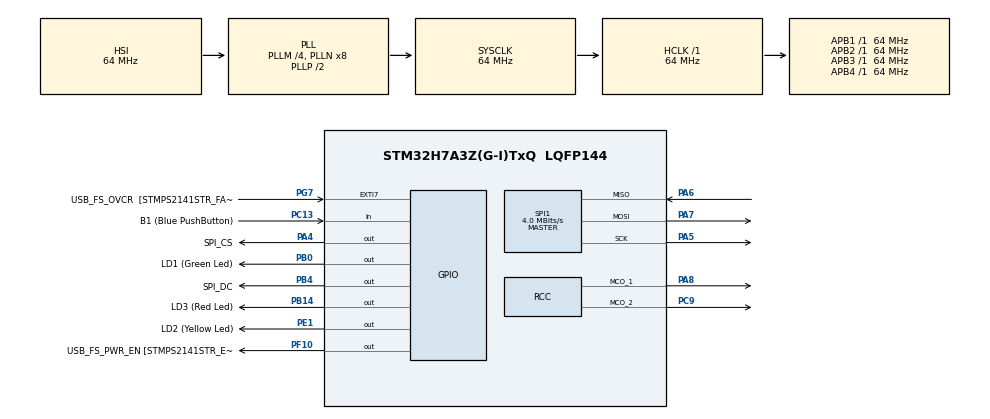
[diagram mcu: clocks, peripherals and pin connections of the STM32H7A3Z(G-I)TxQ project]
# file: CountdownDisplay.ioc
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Mcu.Family=STM32H7
Mcu.Name=STM32H7A3Z(G-I)TxQ
Mcu.Package=LQFP144
NVIC.PriorityGroup=NVIC_PRIORITYGROUP_4
PA10.GPIO_Label=USB_FS_ID [ZX62RD-AB-5P8_ID]
PA10.Signal=USB_OTG_HS_ID
PA11.GPIO_Label=USB_FS_N [USBLC6-2SC6_IO_1]
PA11.Signal=USB_OTG_HS_DM
PA12.GPIO_Label=USB_FS_P [USBLC6-2SC6_IO_2]
PA12.Signal=USB_OTG_HS_DP
PA4.GPIO_Label=SPI_CS
PA4.GPIO_PuPd=GPIO_PULLUP
PA4.GPIO_Speed=GPIO_SPEED_FREQ_MEDIUM
PA4.PinState=GPIO_PIN_SET
PA4.Signal=GPIO_Output
PA5.Mode=Full_Duplex_Master
PA5.Signal=SPI1_SCK
PA6.Mode=Full_Duplex_Master
PA6.Signal=SPI1_MISO
PA7.Mode=Full_Duplex_Master
PA7.Signal=SPI1_MOSI
PA8.Mode=Clock-out-1
PA8.Signal=RCC_MCO_1
PA9.GPIO_Label=USB_FS_VBUS  [ZX62RD-AB-5P8_VBUS]
PA9.Signal=USB_OTG_HS_VBUS
PB0.GPIO_Label=LD1 (Green Led)
PB0.Signal=GPIO_Output
PB10.Signal=SPI2_SCK
PB14.GPIO_Label=LD3 (Red Led)
PB14.Signal=GPIO_Output
PB4.GPIO_Label=SPI_DC
PB4.GPIO_Speed=GPIO_SPEED_FREQ_MEDIUM
PB4.Signal=GPIO_Output
PC13.GPIO_Label=B1 (Blue PushButton)
PC13.Signal=GPIO_Input
PC14-OSC32_IN.GPIO_Label=OSC32_IN
PC14-OSC32_IN.Mode=LSE-External-Oscillator
PC14-OSC32_IN.Signal=RCC_OSC32_IN
PC15-OSC32_OUT.GPIO_Label=OSC32_OUT
PC15-OSC32_OUT.Mode=LSE-External-Oscillator
PC15-OSC32_OUT.Signal=RCC_OSC32_OUT
PC9.Mode=Clock-out-2
PC9.Signal=RCC_MCO_2
PD8.GPIO_Label=STLINK_RX
PD8.Signal=USART3_TX
PD9.GPIO_Label=STLINK_TX
PD9.Signal=USART3_RX
PE1.GPIO_Label=LD2 (Yellow Led)
PE1.Signal=GPIO_Output
PF10.GPIO_Label=USB_FS_PWR_EN [STMPS2141STR_EN]
PF10.Signal=GPIO_Output
PG7.GPIO_Label=USB_FS_OVCR  [STMPS2141STR_FAULT]
PG7.Signal=GPXTI7
PH0-OSC_IN.GPIO_Label=PH0-MCU
PH0-OSC_IN.Mode=HSE-External-Clock-Source
PH0-OSC_IN.Signal=RCC_OSC_IN
PH1-OSC_OUT.GPIO_Label=PH1-MCU
PH1-OSC_OUT.Signal=RCC_OSC_OUT
ProjectManager.HeapSize=0x200
ProjectManager.StackSize=0x400
ProjectManager.TargetToolchain=STM32CubeIDE
RCC.ADCFreq_Value=129000000
RCC.APB1Freq_Value=64000000
RCC.APB2Freq_Value=64000000
RCC.APB3Freq_Value=64000000
RCC.APB4Freq_Value=64000000
RCC.CortexFreq_Value=64000000
RCC.DIVM1=4
RCC.DIVM3=1
RCC.DIVN1=8
RCC.DIVN3=24
RCC.DIVQ1=4
RCC.FLatency=FLASH_LATENCY_1
RCC.HCLKFreq_Value=64000000
RCC.HSE_VALUE=8000000
RCC.PLLFRACN=0
RCC.PWR_Regulator_Voltage_Scale=PWR_REGULATOR_VOLTAGE_SCALE0
RCC.SYSCLKFreq_VALUE=64000000
RCC.SYSCLKSource=RCC_SYSCLKSOURCE_PLLCLK
RCC.SupplySource=PWR_DIRECT_SMPS_SUPPLY
RCC.USBCLockSelection=RCC_USBCLKSOURCE_HSI48
RCC.USBFreq_Value=48000000
SPI1.BaudRatePrescaler=SPI_BAUDRATEPRESCALER_8
SPI1.CalculateBaudRate=4.0 MBits/s
SPI1.DataSize=SPI_DATASIZE_8BIT
SPI1.Direction=SPI_DIRECTION_2LINES
SPI1.Mode=SPI_MODE_MASTER
SPI1.VirtualType=VM_MASTER
board=NUCLEO-H7A3ZI-Q

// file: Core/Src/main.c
/* USER CODE BEGIN Header */
/**
  ******************************************************************************
  * @file           : main.c
  * @brief          : Main program body
  ******************************************************************************
  * @attention
  *
  * Copyright (c) 2024 STMicroelectronics.
  * All rights reserved.
  *
  * This software is licensed under terms that can be found in the LICENSE file
  * in the root directory of this software component.
  * If no LICENSE file comes with this software, it is provided AS-IS.
  *
  ******************************************************************************
  */
/* USER CODE END Header */
#include "main.h"

/* USER CODE BEGIN Includes */
#include <string.h>
#include <stdbool.h>
#include <stdlib.h>
#include "st7735.h"
#include "font.h"
/* USER CODE END Includes */

/* USER CODE BEGIN PTD */
typedef struct {
	uint8_t x;
	uint8_t y;
	uint8_t w;
	uint8_t h;
} Rect;

typedef struct {
	uint8_t x;
	uint8_t y;
} Point;

typedef struct {
	const char* text;
	PixelData colour;
	Rect boundingRect;
} TextElement;

/* USER CODE END PTD */

SPI_HandleTypeDef hspi1;

/* USER CODE BEGIN PV */
PixelData screen[128][160];

FontCharacter font[] = { // A-Z, 0-9 (36 total characters)
		{32, 0},
		{32, 1},
		{32, 2},
		{32, 3},
		{32, 4},
		{32, 5},
		{32, 6},
		{32, 7},
		{32, 8},
		{32, 9},
		{32, 10},
		{32, 11},
		{32, 12},
		{32, 13},
		{32, 14},
		{32, 15},
		{42, 16}, // Q
		{32, 17},
		{32, 18},
		{32, 19},
		{32, 20},
		{32, 21},
		{32, 22},
		{32, 23},
		{32, 24},
		{32, 25},
		{32, 26}, // 0
		{32, 27},
		{32, 28},
		{32, 29},
		{32, 30},
		{32, 31},
		{32, 32},
		{32, 33},
		{32, 34},
		{32, 35},
};

uint8_t textElementsCount = 0;
TextElement *textElements;
/* USER CODE END PV */

void SystemClock_Config(void);
static void MX_GPIO_Init(void);
static void MX_SPI1_Init(void);
/* USER CODE BEGIN PFP */
void writeLCD(ST7735_JOB job, uint8_t *data);
void writeLCDColour(PixelData data);
PixelData colourFromHex(uint8_t r, uint8_t g, uint8_t b);
void drawText(uint8_t index);
Rect drawTextCentered(uint8_t x, uint8_t y, const char* text, PixelData colour);
Rect drawCharacter(uint8_t x, uint8_t y, FontCharacter character, PixelData colour);
void updateScreen();
void updateRect(Rect rect);
void addTextElement(const char* text, PixelData colour, Rect rect);
/* USER CODE END PFP */

int main(void)
{

  /* USER CODE BEGIN 1 */
  textElements = malloc(sizeof(TextElement));
  /* USER CODE END 1 */

  /* MCU Configuration--------------------------------------------------------*/

  /* Reset of all peripherals, Initializes the Flash interface and the Systick. */
  HAL_Init();

  /* USER CODE BEGIN Init */
  uint8_t startupData[] = {
    0x01, 0x2C, 0x2D, // FRMCTR1 // FRMCTR2 // FRMCTR3 (1)
	0x01, 0x2C, 0x2D, // FRMCTR3 (2)
	0x07,			  // INVCTR
	0xA2, 0x02, 0x84, // PWCTR1
	0xC5,			  // PWCTR2
	0x0A, 0x00,		  // PWCTR3
	0x8A, 0x2A,		  // PWCTR4
	0x8A, 0xEE,		  // PWCTR5
	0x0E, 0x0E,		  // VMCTR1
	0x20,			  // MADCTL
	0x06,			  // COLMOD
	0x00, 0x00, 0x00, 0x7F, // RASET
	0x00, 0x00, 0x00, 0x9F, // CASET
	0x02, 0x1C, 0x07, 0x12, 0x37, 0x32, 0x29, 0x2D, 0x29, 0x25, 0x2B, 0x39, 0x00, 0x01, 0x03, 0x10, // GAMCTRP1
	0x03, 0x1D, 0x07, 0x06, 0x2E, 0x2C, 0x29, 0x2D, 0x2E, 0x2E, 0x37, 0x3F, 0x00, 0x00, 0x02, 0x10, // GAMCTRN1
  };

  ST7735_JOB jobs[] = {
		  {ST7735_SWRESET, 0, 0, 150},
		  {ST7735_SLPOUT, 0, 0, 500},
		  {ST7735_FRMCTR1, 0, 3, 0},
		  {ST7735_FRMCTR2, 0, 3, 0},
		  {ST7735_FRMCTR3, 0, 6, 0},
		  {ST7735_INVCTR, 6, 1, 0},
		  {ST7735_PWCTR1, 7, 3, 0},
		  {ST7735_PWCTR2, 10, 1, 0},
		  {ST7735_PWCTR3, 11, 2, 0},
		  {ST7735_PWCTR4, 13, 2, 0},
		  {ST7735_PWCTR5, 15, 2, 0},
		  {ST7735_VMCTR1, 17, 2, 0},
		  {ST7735_INVOFF, 19, 0, 0},
		  {ST7735_MADCTL, 19, 1, 0},
		  {ST7735_COLMOD, 20, 1, 0},
		  {ST7735_RASET, 21, 4, 0},
		  {ST7735_CASET, 25, 4, 0},
		  {ST7735_GAMCTRP1, 29, 16, 0},
		  {ST7735_GAMCTRN1, 45, 16, 0},
		  {ST7735_NORON, 51, 0, 10},
		  {ST7735_DISPON, 51, 0, 100},
		  {ST7735_TEOFF, 51, 0, 0},
  };
  /* USER CODE END Init */

  /* Configure the system clock */
  SystemClock_Config();

  /* Initialize all configured peripherals */
  MX_GPIO_Init();
  MX_SPI1_Init();
  /* USER CODE BEGIN 2 */
  uint32_t jobSize = sizeof(jobs) / sizeof(ST7735_JOB);
  for(int i = 0; i < jobSize; i++) {
	  writeLCD(jobs[i], startupData);
  }
  writeLCD((ST7735_JOB) {ST7735_DISPOFF, 0, 0, 100}, 0);
  writeLCDColour(colourFromHex(0x35, 0x35, 0x35)); // Set background colour
  addTextElement("ABC\n123", Magenta, (Rect) {50, 50, 0, 0});
  updateScreen(); // Push screen 2D array to memory
  writeLCD((ST7735_JOB) {ST7735_DISPON, 0, 0, 100}, 0);
  addTextElement("AAA", Cyan, (Rect) {0, 0, 0, 0});
  writeLCD((ST7735_JOB) {ST7735_DISPOFF, 0, 0, 100}, 0);
  for(int i = 0; i < textElementsCount; i++) {
	updateRect(textElements[i].boundingRect);
  }
  writeLCD((ST7735_JOB) {ST7735_DISPON, 0, 0, 100}, 0);
  /* USER CODE END 2 */

  /* Infinite loop */
  while (1)
  {

  }
}

void SystemClock_Config(void)
{
  RCC_OscInitTypeDef RCC_OscInitStruct = {0};
  RCC_ClkInitTypeDef RCC_ClkInitStruct = {0};

  /*AXI clock gating */
  RCC->CKGAENR = 0xFFFFFFFF;

  /** Supply configuration update enable
  */
  HAL_PWREx_ConfigSupply(PWR_DIRECT_SMPS_SUPPLY);

  /** Configure the main internal regulator output voltage
  */
  __HAL_PWR_VOLTAGESCALING_CONFIG(PWR_REGULATOR_VOLTAGE_SCALE0);

  while(!__HAL_PWR_GET_FLAG(PWR_FLAG_VOSRDY)) {}

  /** Initializes the RCC Oscillators according to the specified parameters
  * in the RCC_OscInitTypeDef structure.
  */
  RCC_OscInitStruct.OscillatorType = RCC_OSCILLATORTYPE_HSI;
  RCC_OscInitStruct.HSIState = RCC_HSI_DIV1;
  RCC_OscInitStruct.HSICalibrationValue = 64;
  RCC_OscInitStruct.PLL.PLLState = RCC_PLL_ON;
  RCC_OscInitStruct.PLL.PLLSource = RCC_PLLSOURCE_HSI;
  RCC_OscInitStruct.PLL.PLLM = 4;
  RCC_OscInitStruct.PLL.PLLN = 8;
  RCC_OscInitStruct.PLL.PLLP = 2;
  RCC_OscInitStruct.PLL.PLLQ = 4;
  RCC_OscInitStruct.PLL.PLLR = 2;
  RCC_OscInitStruct.PLL.PLLRGE = RCC_PLL1VCIRANGE_3;
  RCC_OscInitStruct.PLL.PLLVCOSEL = RCC_PLL1VCOWIDE;
  RCC_OscInitStruct.PLL.PLLFRACN = 0;
  if (HAL_RCC_OscConfig(&RCC_OscInitStruct) != HAL_OK)
  {
    Error_Handler();
  }

  /** Initializes the CPU, AHB and APB buses clocks
  */
  RCC_ClkInitStruct.ClockType = RCC_CLOCKTYPE_HCLK|RCC_CLOCKTYPE_SYSCLK
                              |RCC_CLOCKTYPE_PCLK1|RCC_CLOCKTYPE_PCLK2
                              |RCC_CLOCKTYPE_D3PCLK1|RCC_CLOCKTYPE_D1PCLK1;
  RCC_ClkInitStruct.SYSCLKSource = RCC_SYSCLKSOURCE_PLLCLK;
  RCC_ClkInitStruct.SYSCLKDivider = RCC_SYSCLK_DIV1;
  RCC_ClkInitStruct.AHBCLKDivider = RCC_HCLK_DIV1;
  RCC_ClkInitStruct.APB3CLKDivider = RCC_APB3_DIV1;
  RCC_ClkInitStruct.APB1CLKDivider = RCC_APB1_DIV1;
  RCC_ClkInitStruct.APB2CLKDivider = RCC_APB2_DIV1;
  RCC_ClkInitStruct.APB4CLKDivider = RCC_APB4_DIV1;

  if (HAL_RCC_ClockConfig(&RCC_ClkInitStruct, FLASH_LATENCY_1) != HAL_OK)
  {
    Error_Handler();
  }
  HAL_RCC_MCOConfig(RCC_MCO1, RCC_MCO1SOURCE_HSI, RCC_MCODIV_1);
  HAL_RCC_MCOConfig(RCC_MCO2, RCC_MCO2SOURCE_SYSCLK, RCC_MCODIV_1);
}

static void MX_SPI1_Init(void)
{

  /* SPI1 parameter configuration*/
  hspi1.Instance = SPI1;
  hspi1.Init.Mode = SPI_MODE_MASTER;
  hspi1.Init.Direction = SPI_DIRECTION_2LINES;
  hspi1.Init.DataSize = SPI_DATASIZE_8BIT;
  hspi1.Init.CLKPolarity = SPI_POLARITY_LOW;
  hspi1.Init.CLKPhase = SPI_PHASE_1EDGE;
  hspi1.Init.NSS = SPI_NSS_SOFT;
  hspi1.Init.BaudRatePrescaler = SPI_BAUDRATEPRESCALER_8;
  hspi1.Init.FirstBit = SPI_FIRSTBIT_MSB;
  hspi1.Init.TIMode = SPI_TIMODE_DISABLE;
  hspi1.Init.CRCCalculation = SPI_CRCCALCULATION_DISABLE;
  hspi1.Init.CRCPolynomial = 0x0;
  hspi1.Init.NSSPMode = SPI_NSS_PULSE_ENABLE;
  hspi1.Init.NSSPolarity = SPI_NSS_POLARITY_LOW;
  hspi1.Init.FifoThreshold = SPI_FIFO_THRESHOLD_01DATA;
  hspi1.Init.TxCRCInitializationPattern = SPI_CRC_INITIALIZATION_ALL_ZERO_PATTERN;
  hspi1.Init.RxCRCInitializationPattern = SPI_CRC_INITIALIZATION_ALL_ZERO_PATTERN;
  hspi1.Init.MasterSSIdleness = SPI_MASTER_SS_IDLENESS_00CYCLE;
  hspi1.Init.MasterInterDataIdleness = SPI_MASTER_INTERDATA_IDLENESS_00CYCLE;
  hspi1.Init.MasterReceiverAutoSusp = SPI_MASTER_RX_AUTOSUSP_DISABLE;
  hspi1.Init.MasterKeepIOState = SPI_MASTER_KEEP_IO_STATE_DISABLE;
  hspi1.Init.IOSwap = SPI_IO_SWAP_DISABLE;
  if (HAL_SPI_Init(&hspi1) != HAL_OK)
  {
    Error_Handler();
  }

}

static void MX_GPIO_Init(void)
{
  GPIO_InitTypeDef GPIO_InitStruct = {0};

  /* GPIO Ports Clock Enable */
  __HAL_RCC_GPIOC_CLK_ENABLE();
  __HAL_RCC_GPIOF_CLK_ENABLE();
  __HAL_RCC_GPIOH_CLK_ENABLE();
  __HAL_RCC_GPIOA_CLK_ENABLE();
  __HAL_RCC_GPIOB_CLK_ENABLE();
  __HAL_RCC_GPIOD_CLK_ENABLE();
  __HAL_RCC_GPIOG_CLK_ENABLE();
  __HAL_RCC_GPIOE_CLK_ENABLE();

  /*Configure GPIO pin Output Level */
  HAL_GPIO_WritePin(USB_FS_PWR_EN_GPIO_Port, USB_FS_PWR_EN_Pin, GPIO_PIN_RESET);

  /*Configure GPIO pin Output Level */
  HAL_GPIO_WritePin(SPI_CS_GPIO_Port, SPI_CS_Pin, GPIO_PIN_SET);

  /*Configure GPIO pin Output Level */
  HAL_GPIO_WritePin(GPIOB, LD1_Pin|LD3_Pin|SPI_DC_Pin, GPIO_PIN_RESET);

  /*Configure GPIO pin Output Level */
  HAL_GPIO_WritePin(LD2_GPIO_Port, LD2_Pin, GPIO_PIN_RESET);

  /*Configure GPIO pin : B1_Pin */
  GPIO_InitStruct.Pin = B1_Pin;
  GPIO_InitStruct.Mode = GPIO_MODE_INPUT;
  GPIO_InitStruct.Pull = GPIO_NOPULL;
  HAL_GPIO_Init(B1_GPIO_Port, &GPIO_InitStruct);

  /*Configure GPIO pin : USB_FS_PWR_EN_Pin */
  GPIO_InitStruct.Pin = USB_FS_PWR_EN_Pin;
  GPIO_InitStruct.Mode = GPIO_MODE_OUTPUT_PP;
  GPIO_InitStruct.Pull = GPIO_NOPULL;
  GPIO_InitStruct.Speed = GPIO_SPEED_FREQ_LOW;
  HAL_GPIO_Init(USB_FS_PWR_EN_GPIO_Port, &GPIO_InitStruct);

  /*Configure GPIO pin : SPI_CS_Pin */
  GPIO_InitStruct.Pin = SPI_CS_Pin;
  GPIO_InitStruct.Mode = GPIO_MODE_OUTPUT_PP;
  GPIO_InitStruct.Pull = GPIO_PULLUP;
  GPIO_InitStruct.Speed = GPIO_SPEED_FREQ_MEDIUM;
  HAL_GPIO_Init(SPI_CS_GPIO_Port, &GPIO_InitStruct);

  /*Configure GPIO pins : LD1_Pin LD3_Pin */
  GPIO_InitStruct.Pin = LD1_Pin|LD3_Pin;
  GPIO_InitStruct.Mode = GPIO_MODE_OUTPUT_PP;
  GPIO_InitStruct.Pull = GPIO_NOPULL;
  GPIO_InitStruct.Speed = GPIO_SPEED_FREQ_LOW;
  HAL_GPIO_Init(GPIOB, &GPIO_InitStruct);

  /*Configure GPIO pin : PB10 */
  GPIO_InitStruct.Pin = GPIO_PIN_10;
  GPIO_InitStruct.Mode = GPIO_MODE_AF_PP;
  GPIO_InitStruct.Pull = GPIO_NOPULL;
  GPIO_InitStruct.Speed = GPIO_SPEED_FREQ_LOW;
  GPIO_InitStruct.Alternate = GPIO_AF5_SPI2;
  HAL_GPIO_Init(GPIOB, &GPIO_InitStruct);

  /*Configure GPIO pins : STLINK_RX_Pin STLINK_TX_Pin */
  GPIO_InitStruct.Pin = STLINK_RX_Pin|STLINK_TX_Pin;
  GPIO_InitStruct.Mode = GPIO_MODE_AF_PP;
  GPIO_InitStruct.Pull = GPIO_NOPULL;
  GPIO_InitStruct.Speed = GPIO_SPEED_FREQ_LOW;
  GPIO_InitStruct.Alternate = GPIO_AF7_USART3;
  HAL_GPIO_Init(GPIOD, &GPIO_InitStruct);

  /*Configure GPIO pin : USB_FS_OVCR_Pin */
  GPIO_InitStruct.Pin = USB_FS_OVCR_Pin;
  GPIO_InitStruct.Mode = GPIO_MODE_IT_RISING;
  GPIO_InitStruct.Pull = GPIO_NOPULL;
  HAL_GPIO_Init(USB_FS_OVCR_GPIO_Port, &GPIO_InitStruct);

  /*Configure GPIO pin : PC9 */
  GPIO_InitStruct.Pin = GPIO_PIN_9;
  GPIO_InitStruct.Mode = GPIO_MODE_AF_PP;
  GPIO_InitStruct.Pull = GPIO_NOPULL;
  GPIO_InitStruct.Speed = GPIO_SPEED_FREQ_LOW;
  GPIO_InitStruct.Alternate = GPIO_AF0_MCO;
  HAL_GPIO_Init(GPIOC, &GPIO_InitStruct);

  /*Configure GPIO pin : PA8 */
  GPIO_InitStruct.Pin = GPIO_PIN_8;
  GPIO_InitStruct.Mode = GPIO_MODE_AF_PP;
  GPIO_InitStruct.Pull = GPIO_NOPULL;
  GPIO_InitStruct.Speed = GPIO_SPEED_FREQ_LOW;
  GPIO_InitStruct.Alternate = GPIO_AF0_MCO;
  HAL_GPIO_Init(GPIOA, &GPIO_InitStruct);

  /*Configure GPIO pin : USB_FS_ID_Pin */
  GPIO_InitStruct.Pin = USB_FS_ID_Pin;
  GPIO_InitStruct.Mode = GPIO_MODE_AF_PP;
  GPIO_InitStruct.Pull = GPIO_NOPULL;
  GPIO_InitStruct.Speed = GPIO_SPEED_FREQ_LOW;
  GPIO_InitStruct.Alternate = GPIO_AF10_OTG1_HS;
  HAL_GPIO_Init(USB_FS_ID_GPIO_Port, &GPIO_InitStruct);

  /*Configure GPIO pins : USB_FS_N_Pin USB_FS_P_Pin */
  GPIO_InitStruct.Pin = USB_FS_N_Pin|USB_FS_P_Pin;
  GPIO_InitStruct.Mode = GPIO_MODE_AF_PP;
  GPIO_InitStruct.Pull = GPIO_NOPULL;
  GPIO_InitStruct.Speed = GPIO_SPEED_FREQ_LOW;
  HAL_GPIO_Init(GPIOA, &GPIO_InitStruct);

  /*Configure GPIO pin : SPI_DC_Pin */
  GPIO_InitStruct.Pin = SPI_DC_Pin;
  GPIO_InitStruct.Mode = GPIO_MODE_OUTPUT_PP;
  GPIO_InitStruct.Pull = GPIO_NOPULL;
  GPIO_InitStruct.Speed = GPIO_SPEED_FREQ_MEDIUM;
  HAL_GPIO_Init(SPI_DC_GPIO_Port, &GPIO_InitStruct);

  /*Configure GPIO pin : LD2_Pin */
  GPIO_InitStruct.Pin = LD2_Pin;
  GPIO_InitStruct.Mode = GPIO_MODE_OUTPUT_PP;
  GPIO_InitStruct.Pull = GPIO_NOPULL;
  GPIO_InitStruct.Speed = GPIO_SPEED_FREQ_LOW;
  HAL_GPIO_Init(LD2_GPIO_Port, &GPIO_InitStruct);

}

/* USER CODE BEGIN 4 */
void writeLCD(ST7735_JOB job, uint8_t *data) {
	HAL_GPIO_WritePin(SPI_DC_GPIO_Port, SPI_DC_Pin, GPIO_PIN_RESET);
	HAL_GPIO_WritePin(SPI_CS_GPIO_Port, SPI_CS_Pin, GPIO_PIN_RESET);
	HAL_SPI_Transmit(&hspi1, &job.op, 1, HAL_MAX_DELAY);
	HAL_GPIO_WritePin(SPI_CS_GPIO_Port, SPI_CS_Pin, GPIO_PIN_SET);
	if(job.dataLength != 0) {
		HAL_GPIO_WritePin(SPI_DC_GPIO_Port, SPI_DC_Pin, GPIO_PIN_SET);
		for(int i = job.offset; i < job.offset + job.dataLength; i++) {
			HAL_GPIO_WritePin(SPI_CS_GPIO_Port, SPI_CS_Pin, GPIO_PIN_RESET);
			HAL_SPI_Transmit(&hspi1, data + i, 1, HAL_MAX_DELAY);
			HAL_GPIO_WritePin(SPI_CS_GPIO_Port, SPI_CS_Pin, GPIO_PIN_SET);
		}
	}
}

void writeLCDColour(PixelData data) {
	for(int i = 0; i < 128; i++) {
		for(int j = 0; j < 160; j++) {
			screen[i][j] = data;
		}
	}
}

PixelData colourFromHex(uint8_t r, uint8_t g, uint8_t b) {
	return (PixelData) {{r, g, b}};
}

void drawText(uint8_t index) {
	TextElement te = textElements[index];
	uint8_t x = te.boundingRect.x;
	uint8_t y = te.boundingRect.y;
	Rect temp = {x, y, 0, 45};
	size_t textLength = strlen(te.text);
	uint8_t xPos = x;
	uint8_t yPos = y;
	bool draw = true;
	for(int i = 0; i < textLength; i++) {
		char currChar = te.text[i];
		if((xPos - x) > temp.w) {
			temp.w = xPos - x;
		}
		switch(currChar) {
			case 'A' ... 'Z':
				currChar -= 'A';
				break;
			case '0' ... '9':
				currChar -= '0';
				currChar += 26;
				break;
			case '\n':
				draw = false;
				xPos = x;
				yPos += 45;
				temp.h += 45;
				break;
			default:
				break;
		}
		if(draw) {
			FontCharacter fc = font[(uint8_t) currChar];
			(void) drawCharacter(xPos, yPos, fc, te.colour);
			xPos += 24;
		}
		draw = true;
	}
	temp.w += 17;
	textElements[index].boundingRect.w = temp.w;
	textElements[index].boundingRect.h = temp.h;
}

Rect drawTextCentered(uint8_t x, uint8_t y, const char* text, PixelData colour) {
	Rect temp = {0, 0, 0, 0};
	return temp;
}

Rect drawCharacter(uint8_t x, uint8_t y, FontCharacter character, PixelData colour) {

	uint16_t dataPos = character.start * 96;
	if(character.start > 16) {
		dataPos += 30; // 10 rows * 3 bytes
	}
	for(int i = 0; i < character.height; i++) {
		for(int j = 0; j < 3; j++) { // Iterate through each byte
			for(int k = 7; k > -1; k--) { // Iterate through the bits of the byte
				if((fontData[dataPos + j] & (0b1 << k)) > 0) {
					uint8_t xPos = x + ((j * 8) - k);
					uint8_t yPos = i + y;
					if(xPos > 1 && xPos < 128 && yPos > 0 && yPos < 160) {
						screen[xPos][yPos] = colour;
					}
				}
			}
		}
		dataPos += 3;
	}
	return (Rect) {x, y, 32, 45};
}

void updateScreen() {
	uint8_t width[4] = {0x00, 0x00, 0x00, 0x7F}; // Max width and height
	uint8_t height[4] = {0x00, 0x00, 0x00, 0x9F};
	ST7735_JOB j = {ST7735_RASET, 0, 4, 0};
	writeLCD(j, width);
	j = (ST7735_JOB) {ST7735_CASET, 0, 4, 0};
	writeLCD(j, height);
	j = (ST7735_JOB) {ST7735_RAMWR, 0, 0, 0};
	writeLCD(j, NULL);
	HAL_GPIO_WritePin(SPI_DC_GPIO_Port, SPI_DC_Pin, GPIO_PIN_SET);
	HAL_GPIO_WritePin(SPI_CS_GPIO_Port, SPI_CS_Pin, GPIO_PIN_RESET);
	for(int i = 0; i < 128; i++) {
		for(int j = 0; j < 160; j++) {
			HAL_SPI_Transmit(&hspi1, screen[i][j].data, 3, HAL_MAX_DELAY);
		}
	}
	HAL_GPIO_WritePin(SPI_CS_GPIO_Port, SPI_CS_Pin, GPIO_PIN_SET);
}

void updateRect(Rect rect) {
	uint8_t width[4] = {0x00, rect.x, 0x00, rect.x + rect.w}; // Bounding rect of object
	uint8_t height[4] = {0x00, rect.y, 0x00, rect.y + rect.h - 1};
	ST7735_JOB j = {ST7735_RASET, 0, 4, 0};
	writeLCD(j, width);
	j = (ST7735_JOB) {ST7735_CASET, 0, 4, 0};
	writeLCD(j, height);
	j = (ST7735_JOB) {ST7735_RAMWR, 0, 0, 0};
	writeLCD(j, NULL);
	HAL_GPIO_WritePin(SPI_DC_GPIO_Port, SPI_DC_Pin, GPIO_PIN_SET);
	HAL_GPIO_WritePin(SPI_CS_GPIO_Port, SPI_CS_Pin, GPIO_PIN_RESET);
	for(int i = rect.x; i < rect.x + rect.w; i++) {
		for(int j = rect.y; j < rect.y + rect.h; j++) {
			HAL_SPI_Transmit(&hspi1, screen[i][j].data, 3, HAL_MAX_DELAY);
		}
	}
	HAL_GPIO_WritePin(SPI_CS_GPIO_Port, SPI_CS_Pin, GPIO_PIN_SET);
}

void addTextElement(const char* text, PixelData colour, Rect rect) {
	TextElement te = {text, colour, rect};
	textElements[textElementsCount] = te;
	textElements = realloc(textElements, textElementsCount++); // Add another spare element to the end of the array.
}

int __io_putchar(int ch) {
	ITM_SendChar(ch);
	return ch;
}
/* USER CODE END 4 */

void Error_Handler(void)
{
  __disable_irq();
  while (1)
  {
  }
}
